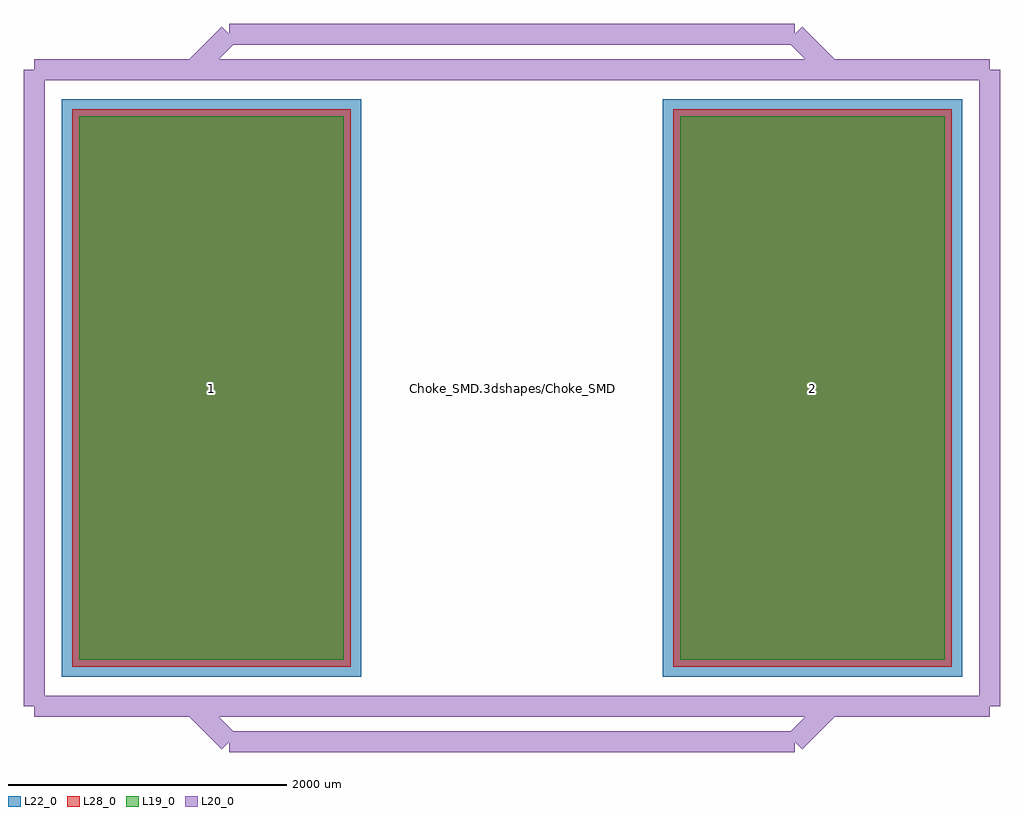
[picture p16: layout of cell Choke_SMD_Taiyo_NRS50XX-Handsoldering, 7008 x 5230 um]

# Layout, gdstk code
import gdstk
lib = gdstk.Library(unit=1e-6, precision=1e-09)
def R(c, l, rs):  # rectangles x0, y0, x1, y1
    for r in rs: c.add(gdstk.rectangle(r[:2], r[2:], *l))
L19_0 = (19, 0)
L20_0 = (20, 0)
L22_0 = (22, 0)
L28_0 = (28, 0)

choke_smd_taiyo_nrs50xx_ = lib.new_cell('Choke_SMD_Taiyo_NRS50XX-Handsoldering')
R(choke_smd_taiyo_nrs50xx_, L19_0, [(-3109,-1950,-1209,1950), (1209,-1950,3109,1950)])
R(choke_smd_taiyo_nrs50xx_, L22_0, [(-3234,-2075,-1084,2075), (1084,-2075,3234,2075)])
R(choke_smd_taiyo_nrs50xx_, L28_0, [(-3159,-2000,-1159,2000), (1159,-2000,3159,2000)])
choke_smd_taiyo_nrs50xx_.add(gdstk.FlexPath([(-2032,-2540),(-2286,-2286)], 149.998, ends="flush", simple_path=True, layer=20, datatype=0))  # L20_0
choke_smd_taiyo_nrs50xx_.add(gdstk.FlexPath([(-1778,-2540),(-2032,-2540)], 149.998, ends="flush", simple_path=True, layer=20, datatype=0))  # L20_0
choke_smd_taiyo_nrs50xx_.add(gdstk.FlexPath([(2032,-2540),(-1778,-2540)], 149.998, ends="flush", simple_path=True, layer=20, datatype=0))  # L20_0
choke_smd_taiyo_nrs50xx_.add(gdstk.FlexPath([(2286,-2286),(2032,-2540)], 149.998, ends="flush", simple_path=True, layer=20, datatype=0))  # L20_0
choke_smd_taiyo_nrs50xx_.add(gdstk.FlexPath([(2032,2540),(2286,2286)], 149.998, ends="flush", simple_path=True, layer=20, datatype=0))  # L20_0
choke_smd_taiyo_nrs50xx_.add(gdstk.FlexPath([(-2032,2540),(2032,2540)], 149.998, ends="flush", simple_path=True, layer=20, datatype=0))  # L20_0
choke_smd_taiyo_nrs50xx_.add(gdstk.FlexPath([(-2286,2286),(-2032,2540)], 149.998, ends="flush", simple_path=True, layer=20, datatype=0))  # L20_0
choke_smd_taiyo_nrs50xx_.add(gdstk.FlexPath([(-2286,2286),(2286,2286)], 149.998, ends="flush", simple_path=True, layer=20, datatype=0))  # L20_0
choke_smd_taiyo_nrs50xx_.add(gdstk.FlexPath([(-2286,-2286),(2286,-2286)], 149.998, ends="flush", simple_path=True, layer=20, datatype=0))  # L20_0
choke_smd_taiyo_nrs50xx_.add(gdstk.FlexPath([(-3429,-2286),(-2286,-2286)], 149.998, ends="flush", simple_path=True, layer=20, datatype=0))  # L20_0
choke_smd_taiyo_nrs50xx_.add(gdstk.FlexPath([(-3429,2286),(-3429,-2286)], 149.998, ends="flush", simple_path=True, layer=20, datatype=0))  # L20_0
choke_smd_taiyo_nrs50xx_.add(gdstk.FlexPath([(-2286,2286),(-3429,2286)], 149.998, ends="flush", simple_path=True, layer=20, datatype=0))  # L20_0
choke_smd_taiyo_nrs50xx_.add(gdstk.FlexPath([(3429,-2286),(2286,-2286)], 149.998, ends="flush", simple_path=True, layer=20, datatype=0))  # L20_0
choke_smd_taiyo_nrs50xx_.add(gdstk.FlexPath([(3429,2286),(3429,-2286)], 149.998, ends="flush", simple_path=True, layer=20, datatype=0))  # L20_0
choke_smd_taiyo_nrs50xx_.add(gdstk.FlexPath([(2286,2286),(3429,2286)], 149.998, ends="flush", simple_path=True, layer=20, datatype=0))  # L20_0
choke_smd_taiyo_nrs50xx_.add(gdstk.Label('Choke_SMD.3dshapes/Choke_SMD_Taiyo_NRS50XX-Handsoldering.wrl', (0,0), layer=12, texttype=0))
choke_smd_taiyo_nrs50xx_.add(gdstk.Label('2', (2159,0), layer=28, texttype=0))
choke_smd_taiyo_nrs50xx_.add(gdstk.Label('1', (-2159,0), layer=28, texttype=0))
choke_smd_taiyo_nrs50xx_.add(gdstk.Label('type', (0,-3810), layer=9, texttype=0))
choke_smd_taiyo_nrs50xx_.add(gdstk.Label('devicename', (0,3810), layer=9, texttype=0))

lib.write_gds('Choke_SMD_Taiyo_NRS50XX-Handsoldering.gds')
